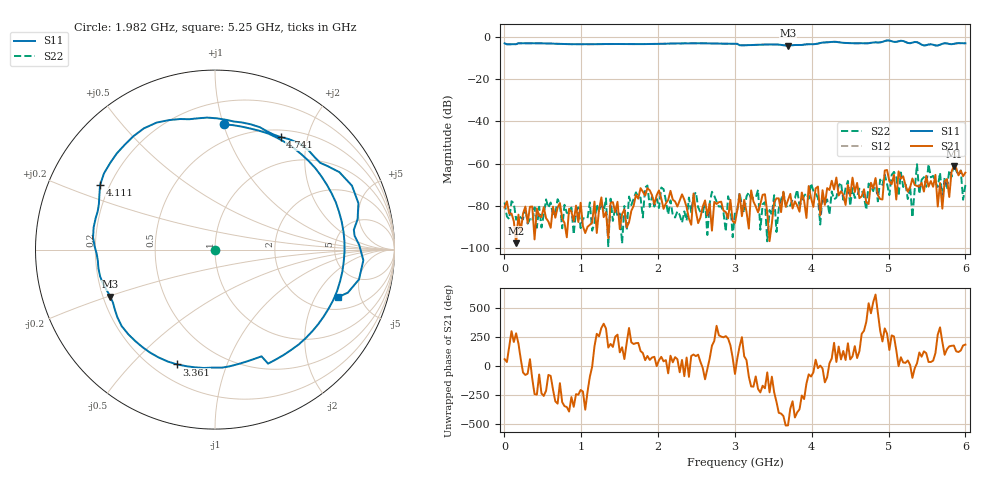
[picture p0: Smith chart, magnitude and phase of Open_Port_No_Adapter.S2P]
! C:\data\cal kit\Siglent Cal Kit\Open_Port_No_Adapter.S2P
! Touchstone 1.1 file saved by VNA.EXE V1.60 (www.ke5fx.com/gpib/readme.htm)
! 26/07/2019 10:50:25 a.m.
!  Source: HEWLETT PACKARD,8753C,0,4.12
!  Min freq: 3.000000E+006 Hz
!  Max freq: 6.000000E+009 Hz
!  Points: 201
!  Params: S11 S21 S12 S22
# GHZ S DB R 50
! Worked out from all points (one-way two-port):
!   201 points, 3 MHz to 6 GHz, reference 50 ohm
!   highest |S21| = -61.26 dB at 5.85 GHz (marker M1); lowest = -98.0 dB at 152.9 MHz (marker M2)
!   lowest |S11| = -3.9 dB at 3.691 GHz (marker M3), VSWR 4.54, Z = 11.5 - j10.2 ohm
!   |S11| at or under -10 dB: nowhere
!   |S22| runs from -99.3 to -60.2 dB; largest |S21 - S12| = 0.84
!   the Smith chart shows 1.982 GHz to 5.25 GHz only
!   S11 on the Smith chart (normalised r, x): 1.982 GHz: 0.37, +1.00; 3.361 GHz: 0.29, -0.68; 4.111 GHz: 0.16, +0.26; 4.741 GHz: 0.60, +1.58; 5.25 GHz: 2.73, -3.16
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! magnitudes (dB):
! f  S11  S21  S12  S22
! 3 MHz  -2.9  -81.0  -2.9  -78.5
! 152.9 MHz  -3.2  -98.0  -3.2  -86.7
! 1.022 GHz  -3.3  -89.9  -3.3  -86.0
! 1.982 GHz  -3.1  -75.1  -3.1  -76.7
! 2.012 GHz  -3.1  -72.8  -3.1  -81.2
! 3.002 GHz  -3.1  -88.2  -3.1  -82.9
! 3.361 GHz  -3.4  -74.9  -3.4  -79.4
! 3.691 GHz  -3.9  -77.4  -3.9  -81.1
! 4.021 GHz  -3.3  -80.6  -3.3  -72.9
! 4.111 GHz  -2.7  -84.6  -2.7  -89.0
! 4.321 GHz  -2.2  -66.6  -2.1  -76.2
! 4.741 GHz  -2.8  -79.2  -2.8  -69.5
! 5.01 GHz  -1.5  -68.4  -1.5  -75.0
! 5.16 GHz  -1.6  -67.2  -1.6  -64.2
! 5.25 GHz  -2.7  -73.4  -2.6  -76.9
! 5.52 GHz  -3.4  -71.0  -3.4  -60.3
! 5.61 GHz  -3.8  -65.4  -3.8  -68.8
! 5.64 GHz  -3.9  -80.4  -3.9  -71.1
! 5.67 GHz  -3.5  -69.3  -3.5  -64.3
! 5.7 GHz  -3.1  -81.5  -3.1  -77.2
! 5.85 GHz  -3.1  -61.3  -3.1  -60.2
! 6 GHz  -2.8  -64.3  -2.8  -70.2
